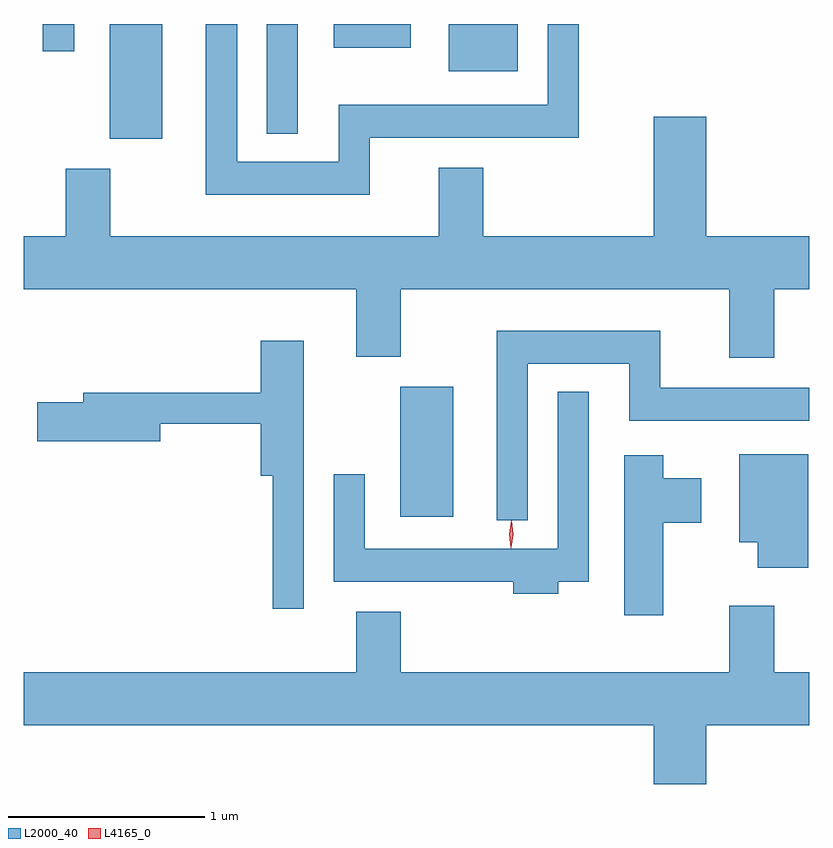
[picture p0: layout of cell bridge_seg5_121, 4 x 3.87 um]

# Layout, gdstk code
import gdstk
lib = gdstk.Library(unit=1e-6, precision=1e-09)
def R(c, l, rs):  # rectangles x0, y0, x1, y1
    for r in rs: c.add(gdstk.rectangle(r[:2], r[2:], *l))
def P(c, l, *ps):  # polygons
    for p in ps: c.add(gdstk.Polygon(p, *l))
L2000_40 = (2000, 40)
L4165_0 = (4165, 0)

bridge_seg5_121 = lib.new_cell('bridge_seg5_121')
R(bridge_seg5_121, L2000_40, [(1192.806,1420.116,1193.074,1420.779), (1191.326,1422.041,1191.594,1422.626), (1192.126,1422.068,1192.284,1422.626), (1193.051,1422.386,1193.404,1422.626), (1190.986,1422.488,1191.144,1422.626), (1192.466,1422.506,1192.859,1422.626)])
P(bridge_seg5_121, L2000_40, [(1192.649,1422.046),(1193.714,1422.046),(1193.714,1422.626),(1193.556,1422.626),(1193.556,1422.214),(1192.491,1422.214),(1192.491,1421.924),(1191.974,1421.924),(1191.974,1422.626),(1191.816,1422.626),(1191.816,1421.756),(1192.649,1421.756)],
  [(1194.709,1421.276),(1194.888,1421.276),(1194.888,1421.544),(1194.364,1421.544),(1194.364,1422.154),(1194.096,1422.154),(1194.096,1421.544),(1193.229,1421.544),(1193.229,1421.894),(1193.001,1421.894),(1193.001,1421.544),(1191.329,1421.544),(1191.329,1421.889),(1191.101,1421.889),(1191.101,1421.544),(1190.888,1421.544),(1190.888,1421.276),(1192.581,1421.276),(1192.581,1420.931),(1192.809,1420.931),(1192.809,1421.276),(1194.481,1421.276),(1194.481,1420.926),(1194.709,1420.926)],
  [(1193.454,1420.896),(1193.971,1420.896),(1193.971,1420.606),(1194.888,1420.606),(1194.888,1420.774),(1194.129,1420.774),(1194.129,1421.064),(1193.296,1421.064),(1193.296,1420.098),(1193.454,1420.098)],
  [(1192.314,1421.014),(1192.096,1421.014),(1192.096,1420.749),(1191.191,1420.749),(1191.191,1420.699),(1190.956,1420.699),(1190.956,1420.501),(1191.584,1420.501),(1191.584,1420.591),(1192.096,1420.591),(1192.096,1420.326),(1192.156,1420.326),(1192.156,1419.648),(1192.314,1419.648)],
  [(1193.609,1419.786),(1193.764,1419.786),(1193.764,1420.753),(1193.606,1420.753),(1193.606,1419.954),(1192.624,1419.954),(1192.624,1420.333),(1192.466,1420.333),(1192.466,1419.786),(1193.381,1419.786),(1193.381,1419.726),(1193.609,1419.726)],
  [(1194.884,1420.434),(1194.531,1420.434),(1194.531,1419.986),(1194.626,1419.986),(1194.626,1419.856),(1194.884,1419.856)],
  [(1194.144,1420.086),(1194.339,1420.086),(1194.339,1420.314),(1194.144,1420.314),(1194.144,1420.429),(1193.946,1420.429),(1193.946,1419.616),(1194.144,1419.616)],
  [(1194.364,1419.056),(1194.888,1419.056),(1194.888,1419.324),(1194.709,1419.324),(1194.709,1419.664),(1194.481,1419.664),(1194.481,1419.324),(1192.809,1419.324),(1192.809,1419.634),(1192.581,1419.634),(1192.581,1419.324),(1190.888,1419.324),(1190.888,1419.056),(1194.096,1419.056),(1194.096,1418.756),(1194.364,1418.756)])
P(bridge_seg5_121, L4165_0, [(1193.37,1419.96),(1193.37,1419.96),(1193.361,1420.026),(1193.371,1420.092),(1193.372,1420.093),(1193.372,1420.092),(1193.381,1420.026),(1193.371,1419.96)],
  [(1193.37,1419.957),(1193.369,1419.958),(1193.361,1420.027),(1193.371,1420.096),(1193.372,1420.096),(1193.372,1420.096),(1193.381,1420.027),(1193.37,1419.958)])

lib.write_gds('bridge_seg5_121.gds')
